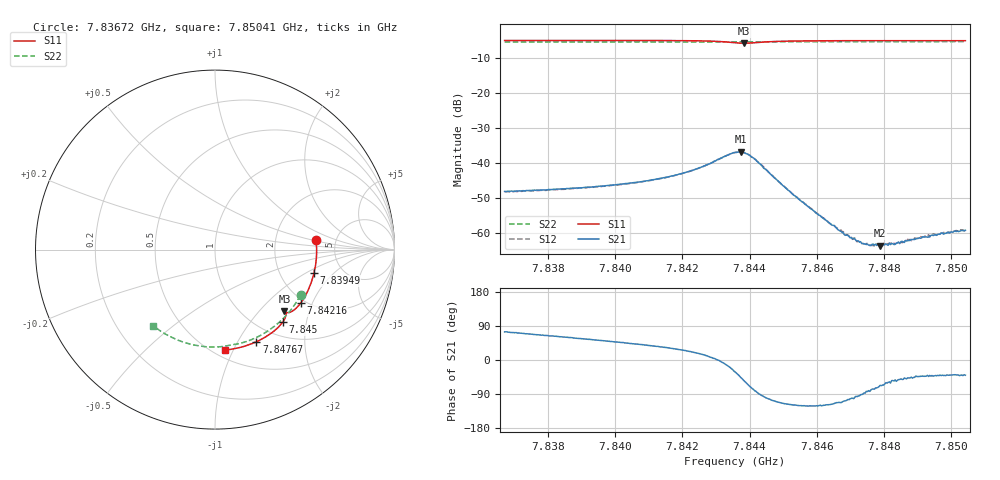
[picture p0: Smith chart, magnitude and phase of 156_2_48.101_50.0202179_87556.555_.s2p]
#  HZ  S  RI  R  50.00
! Rohde & Schwarz Vector Network Analyzer
! Rohde-Schwarz,ZNB20-2Port,1311601062101988,3.16
! Created: UTC 12/23/2023, 3:50:17 AM
! freq[Hz]  re:S11  im:S11  re:S21  im:S21  re:S12  im:S12  re:S22  im:S22
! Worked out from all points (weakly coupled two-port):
!   401 points, 7.83672 GHz to 7.85041 GHz, reference 50 ohm
!   highest |S21| = -36.74 dB at 7.84374 GHz (marker M1); lowest = -63.6 dB at 7.84788 GHz (marker M2)
!   lowest |S11| = -5.7 dB at 7.84384 GHz (marker M3), VSWR 3.14, Z = 74.2 - j69.6 ohm
!   |S11| at or under -10 dB: nowhere
!   |S22| runs from -5.4 to -5.3 dB; largest |S21 - S12| = 0.00037
!   S11 on the Smith chart (normalised r, x): 7.83672 GHz: 3.51, +0.56; 7.83949 GHz: 3.12, -1.19; 7.84216 GHz: 1.89, -1.65; 7.845 GHz: 1.26, -1.47; 7.84767 GHz: 0.80, -1.20; 7.85041 GHz: 0.57, -0.93
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7.836719e9  0.5634 0.0543  0.00107 0.00378  0.00109 0.00372  0.4765 -0.2529
7.839013e9  0.5583 -0.0979  0.00246 0.00369  0.00244 0.00366  0.3817 -0.3824
7.839492e9  0.5518 -0.1295  0.00283 0.00366  0.00278 0.00362  0.3573 -0.4053
7.840622e9  0.5291 -0.2025  0.00391 0.00355  0.00385 0.00356  0.2945 -0.4537
7.841307e9  0.5097 -0.2455  0.00488 0.00344  0.0048 0.00344  0.2533 -0.4782
7.842163e9  0.4776 -0.2976  0.00687 0.003  0.00682 0.00302  0.1987 -0.5035
7.843053e9  0.4281 -0.3446  0.0113 5.52e-05  0.0111 0.000129  0.1388 -0.5224
7.843566e9  0.3924 -0.35  0.0121 -0.00734  0.0121 -0.00732  0.1045 -0.5289
7.843737e9  0.387 -0.3455  0.0101 -0.0105  0.0101 -0.0102  0.0935 -0.5308
7.84384e9  0.3871 -0.3434  0.00796 -0.0116  0.00827 -0.0114  0.0872 -0.5319
7.844183e9  0.3942 -0.3508  0.00149 -0.0111  0.00157 -0.011  0.065 -0.5363
7.845004e9  0.3775 -0.4042  -0.00194 -0.00427  -0.00197 -0.00433  0.00776 -0.5425
7.84586e9  0.3353 -0.4486  -0.00112 -0.00185  -0.00109 -0.00188  -0.0526 -0.541
7.846819e9  0.2815 -0.4869  -0.00029 -0.000896  -0.000295 -0.000924  -0.1192 -0.5309
7.847127e9  0.2632 -0.4972  -0.000118 -0.000812  -0.0001 -0.000846  -0.1404 -0.526
7.847401e9  0.2468 -0.5058  3.87e-05 -0.000696  3.94e-05 -0.000696  -0.1588 -0.5209
7.847675e9  0.2301 -0.5136  0.00016 -0.000671  0.00014 -0.000647  -0.1771 -0.515
7.84788e9  0.2175 -0.5192  0.000258 -0.000604  0.000258 -0.000607  -0.191 -0.5103
7.848154e9  0.2003 -0.5261  0.000379 -0.000603  0.000369 -0.000619  -0.2086 -0.5033
7.848325e9  0.1897 -0.5301  0.000416 -0.000545  0.000421 -0.000559  -0.2198 -0.4988
7.849455e9  0.1171 -0.5504  0.000674 -0.000621  0.000712 -0.000662  -0.2899 -0.4623
7.850413e9  0.0541 -0.5597  0.000832 -0.000701  0.000837 -0.0007  -0.345 -0.4236
